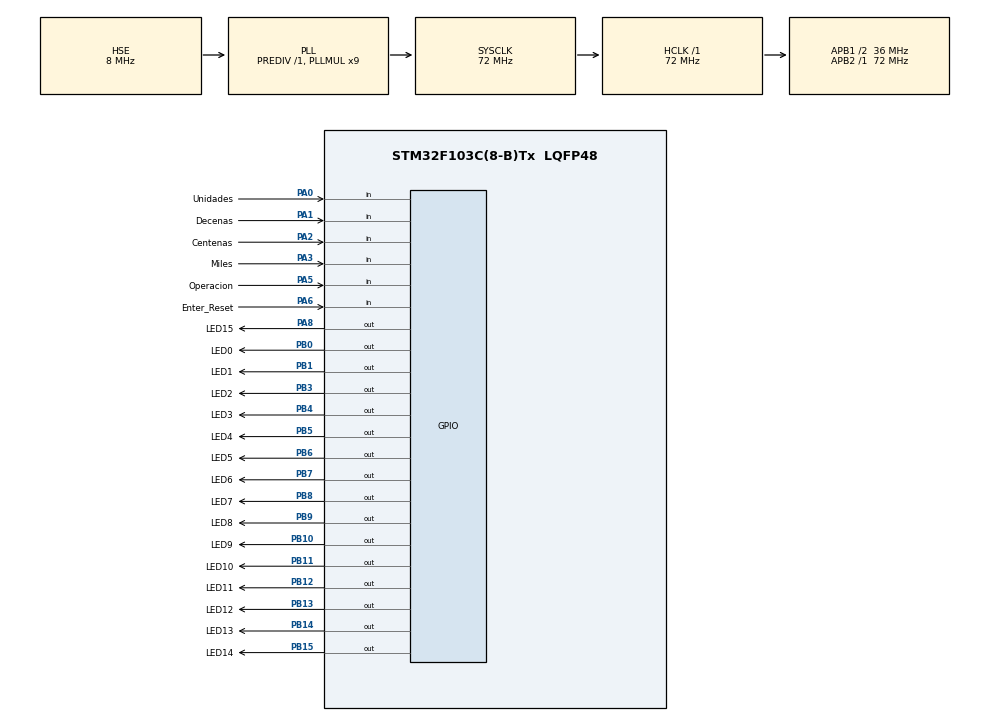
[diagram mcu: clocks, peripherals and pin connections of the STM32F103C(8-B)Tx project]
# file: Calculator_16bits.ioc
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Mcu.Family=STM32F1
Mcu.Name=STM32F103C(8-B)Tx
Mcu.Package=LQFP48
NVIC.PriorityGroup=NVIC_PRIORITYGROUP_4
PA0-WKUP.GPIO_Label=Unidades
PA0-WKUP.GPIO_PuPd=GPIO_PULLDOWN
PA0-WKUP.Signal=GPIO_Input
PA1.GPIO_Label=Decenas
PA1.GPIO_PuPd=GPIO_PULLDOWN
PA1.Signal=GPIO_Input
PA13.Mode=Serial_Wire
PA13.Signal=SYS_JTMS-SWDIO
PA14.Mode=Serial_Wire
PA14.Signal=SYS_JTCK-SWCLK
PA2.GPIO_Label=Centenas
PA2.GPIO_PuPd=GPIO_PULLDOWN
PA2.Signal=GPIO_Input
PA3.GPIO_Label=Miles
PA3.GPIO_PuPd=GPIO_PULLDOWN
PA3.Signal=GPIO_Input
PA5.GPIO_Label=Operacion
PA5.GPIO_PuPd=GPIO_PULLDOWN
PA5.Signal=GPIO_Input
PA6.GPIO_Label=Enter_Reset
PA6.GPIO_PuPd=GPIO_PULLDOWN
PA6.Signal=GPIO_Input
PA8.GPIO_Label=LED15
PA8.GPIO_PuPd=GPIO_PULLDOWN
PA8.Signal=GPIO_Output
PB0.GPIO_Label=LED0
PB0.GPIO_PuPd=GPIO_PULLDOWN
PB0.Signal=GPIO_Output
PB1.GPIO_Label=LED1
PB1.GPIO_PuPd=GPIO_PULLDOWN
PB1.Signal=GPIO_Output
PB10.GPIO_Label=LED9
PB10.GPIO_PuPd=GPIO_PULLDOWN
PB10.Signal=GPIO_Output
PB11.GPIO_Label=LED10
PB11.GPIO_PuPd=GPIO_PULLDOWN
PB11.Signal=GPIO_Output
PB12.GPIO_Label=LED11
PB12.GPIO_PuPd=GPIO_PULLDOWN
PB12.Signal=GPIO_Output
PB13.GPIO_Label=LED12
PB13.GPIO_PuPd=GPIO_PULLDOWN
PB13.Signal=GPIO_Output
PB14.GPIO_Label=LED13
PB14.GPIO_PuPd=GPIO_PULLDOWN
PB14.Signal=GPIO_Output
PB15.GPIO_Label=LED14
PB15.GPIO_PuPd=GPIO_PULLDOWN
PB15.Signal=GPIO_Output
PB3.GPIO_Label=LED2
PB3.GPIO_PuPd=GPIO_PULLDOWN
PB3.Signal=GPIO_Output
PB4.GPIO_Label=LED3
PB4.GPIO_PuPd=GPIO_PULLDOWN
PB4.Signal=GPIO_Output
PB5.GPIO_Label=LED4
PB5.GPIO_PuPd=GPIO_PULLDOWN
PB5.Signal=GPIO_Output
PB6.GPIO_Label=LED5
PB6.GPIO_PuPd=GPIO_PULLDOWN
PB6.Signal=GPIO_Output
PB7.GPIO_Label=LED6
PB7.GPIO_PuPd=GPIO_PULLDOWN
PB7.Signal=GPIO_Output
PB8.GPIO_Label=LED7
PB8.GPIO_PuPd=GPIO_PULLDOWN
PB8.Signal=GPIO_Output
PB9.GPIO_Label=LED8
PB9.GPIO_PuPd=GPIO_PULLDOWN
PB9.Signal=GPIO_Output
PD0-OSC_IN.Mode=HSE-External-Oscillator
PD0-OSC_IN.Signal=RCC_OSC_IN
PD1-OSC_OUT.Mode=HSE-External-Oscillator
PD1-OSC_OUT.Signal=RCC_OSC_OUT
ProjectManager.HeapSize=0x200
ProjectManager.StackSize=0x400
ProjectManager.TargetToolchain=STM32CubeIDE
RCC.AHBFreq_Value=72000000
RCC.APB1CLKDivider=RCC_HCLK_DIV2
RCC.APB1Freq_Value=36000000
RCC.APB1TimFreq_Value=72000000
RCC.APB2Freq_Value=72000000
RCC.APB2TimFreq_Value=72000000
RCC.HCLKFreq_Value=72000000
RCC.PLLMUL=RCC_PLL_MUL9
RCC.PLLSourceVirtual=RCC_PLLSOURCE_HSE
RCC.SYSCLKFreq_VALUE=72000000
RCC.SYSCLKSource=RCC_SYSCLKSOURCE_PLLCLK
RCC.USBFreq_Value=72000000
board=custom

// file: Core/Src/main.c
/* USER CODE BEGIN Header */
/**
  ******************************************************************************
  * @file           : main.c
  * @brief          : Main program body
  ******************************************************************************
  * @attention
  * MM
  * <h2><center>&copy; Copyright (c) 2021 STMicroelectronics.
  * All rights reserved.</center></h2>
  *
  * This software component is licensed by ST under BSD 3-Clause license,
  * the "License"; You may not use this file except in compliance with the
  * License. You may obtain a copy of the License at:
  *                        opensource.org/licenses/BSD-3-Clause
  *
  ******************************************************************************
  */
/* USER CODE END Header */
#include "main.h"

/* USER CODE BEGIN PD */

#define delay_error 1000
#define delay_negative 300

/* USER CODE END PD */

/* USER CODE BEGIN PV */
uint16_t n1 = 0;
uint16_t n2 = 0;
uint8_t operator;

/* USER CODE END PV */

void SystemClock_Config(void);
static void MX_GPIO_Init(void);
/* USER CODE BEGIN PFP */
uint16_t read_number();
uint8_t selector_operation();
void calculate_n(uint16_t num1,uint16_t num2,uint8_t operation);
void negative(uint16_t num1,uint16_t num2);
void null();
void solution(uint16_t num1,uint16_t num2,uint8_t operation);
void printf_solution(uint16_t result);

/* USER CODE END PFP */

int main(void)
{

  /* MCU Configuration--------------------------------------------------------*/

  /* Reset of all peripherals, Initializes the Flash interface and the Systick. */
  HAL_Init();

  /* Configure the system clock */
  SystemClock_Config();

  /* Initialize all configured peripherals */
  MX_GPIO_Init();

  /* Infinite loop */
  /* USER CODE BEGIN WHILE */
  while (1)
  {
	  while(HAL_GPIO_ReadPin(GPIOA, Operacion_Pin) != 1)
	  {
		  n1 =  read_number();
	  }
	  operator = selector_operation();
	  while(HAL_GPIO_ReadPin(GPIOA, Enter_Reset_Pin) != 1)
	  {
		  n2 = read_number();
	  }
	  calculate_n(n1, n2, operator);
    /* USER CODE END WHILE */

  }
}

void SystemClock_Config(void)
{
  RCC_OscInitTypeDef RCC_OscInitStruct = {0};
  RCC_ClkInitTypeDef RCC_ClkInitStruct = {0};

  /** Initializes the RCC Oscillators according to the specified parameters
  * in the RCC_OscInitTypeDef structure.
  */
  RCC_OscInitStruct.OscillatorType = RCC_OSCILLATORTYPE_HSE;
  RCC_OscInitStruct.HSEState = RCC_HSE_ON;
  RCC_OscInitStruct.HSEPredivValue = RCC_HSE_PREDIV_DIV1;
  RCC_OscInitStruct.HSIState = RCC_HSI_ON;
  RCC_OscInitStruct.PLL.PLLState = RCC_PLL_ON;
  RCC_OscInitStruct.PLL.PLLSource = RCC_PLLSOURCE_HSE;
  RCC_OscInitStruct.PLL.PLLMUL = RCC_PLL_MUL9;
  if (HAL_RCC_OscConfig(&RCC_OscInitStruct) != HAL_OK)
  {
    Error_Handler();
  }
  /** Initializes the CPU, AHB and APB buses clocks
  */
  RCC_ClkInitStruct.ClockType = RCC_CLOCKTYPE_HCLK|RCC_CLOCKTYPE_SYSCLK
                              |RCC_CLOCKTYPE_PCLK1|RCC_CLOCKTYPE_PCLK2;
  RCC_ClkInitStruct.SYSCLKSource = RCC_SYSCLKSOURCE_PLLCLK;
  RCC_ClkInitStruct.AHBCLKDivider = RCC_SYSCLK_DIV1;
  RCC_ClkInitStruct.APB1CLKDivider = RCC_HCLK_DIV2;
  RCC_ClkInitStruct.APB2CLKDivider = RCC_HCLK_DIV1;

  if (HAL_RCC_ClockConfig(&RCC_ClkInitStruct, FLASH_LATENCY_2) != HAL_OK)
  {
    Error_Handler();
  }
}

static void MX_GPIO_Init(void)
{
  GPIO_InitTypeDef GPIO_InitStruct = {0};

  /* GPIO Ports Clock Enable */
  __HAL_RCC_GPIOD_CLK_ENABLE();
  __HAL_RCC_GPIOA_CLK_ENABLE();
  __HAL_RCC_GPIOB_CLK_ENABLE();

  /*Configure GPIO pin Output Level */
  HAL_GPIO_WritePin(GPIOB, LED0_Pin|LED1_Pin|LED9_Pin|LED10_Pin
                          |LED11_Pin|LED12_Pin|LED13_Pin|LED14_Pin
                          |LED2_Pin|LED3_Pin|LED4_Pin|LED5_Pin
                          |LED6_Pin|LED7_Pin|LED8_Pin, GPIO_PIN_RESET);

  /*Configure GPIO pin Output Level */
  HAL_GPIO_WritePin(LED15_GPIO_Port, LED15_Pin, GPIO_PIN_RESET);

  /*Configure GPIO pins : Unidades_Pin Decenas_Pin Centenas_Pin Miles_Pin
                           Operacion_Pin Enter_Reset_Pin */
  GPIO_InitStruct.Pin = Unidades_Pin|Decenas_Pin|Centenas_Pin|Miles_Pin
                          |Operacion_Pin|Enter_Reset_Pin;
  GPIO_InitStruct.Mode = GPIO_MODE_INPUT;
  GPIO_InitStruct.Pull = GPIO_PULLDOWN;
  HAL_GPIO_Init(GPIOA, &GPIO_InitStruct);

  /*Configure GPIO pins : LED0_Pin LED1_Pin LED9_Pin LED10_Pin
                           LED11_Pin LED12_Pin LED13_Pin LED14_Pin
                           LED2_Pin LED3_Pin LED4_Pin LED5_Pin
                           LED6_Pin LED7_Pin LED8_Pin */
  GPIO_InitStruct.Pin = LED0_Pin|LED1_Pin|LED9_Pin|LED10_Pin
                          |LED11_Pin|LED12_Pin|LED13_Pin|LED14_Pin
                          |LED2_Pin|LED3_Pin|LED4_Pin|LED5_Pin
                          |LED6_Pin|LED7_Pin|LED8_Pin;
  GPIO_InitStruct.Mode = GPIO_MODE_OUTPUT_PP;
  GPIO_InitStruct.Pull = GPIO_PULLDOWN;
  GPIO_InitStruct.Speed = GPIO_SPEED_FREQ_LOW;
  HAL_GPIO_Init(GPIOB, &GPIO_InitStruct);

  /*Configure GPIO pin : LED15_Pin */
  GPIO_InitStruct.Pin = LED15_Pin;
  GPIO_InitStruct.Mode = GPIO_MODE_OUTPUT_PP;
  GPIO_InitStruct.Pull = GPIO_PULLDOWN;
  GPIO_InitStruct.Speed = GPIO_SPEED_FREQ_LOW;
  HAL_GPIO_Init(LED15_GPIO_Port, &GPIO_InitStruct);

}

/* USER CODE BEGIN 4 */
uint16_t read_number(){
	uint8_t u = 0,c = 0,d = 0,m = 0;
	uint8_t unidades = 0;
	uint8_t decenas = 0;
	uint8_t centenas = 0;
	uint16_t miles = 0;
	uint16_t numero = 0;

	u = HAL_GPIO_ReadPin(GPIOA, Unidades_Pin);
	d = HAL_GPIO_ReadPin(GPIOA, Decenas_Pin);
	c = HAL_GPIO_ReadPin(GPIOA, Centenas_Pin);
	m = HAL_GPIO_ReadPin(GPIOA, Miles_Pin);

	while((u == 1) || (d == 1) || (c == 1) || (m == 1)){

	}

	return numero;
}

uint8_t selector_operation(){
	uint8_t op;
	uint8_t contador = 0;

	if(HAL_GPIO_ReadPin(GPIOA, Operacion_Pin)==1)
	{
		contador++;
	}

	switch (contador)
	{
	case 1:
		op = 2;
		break;
	case 2:
		op = '-';
		break;
	case 3:
		op = '*';
		break;
	case 4:
		op = '/';
		break;
	default:
		break;

	return op;

	}
}

void calculate_n(uint16_t num1,uint16_t num2,uint8_t operation){
	if(num1 < num2){
		negative(num2,num1);
	}else{
		solution(num1,num2);
	}
}

void negative(uint16_t num1,uint16_t num2){

}

void solution(uint16_t num1,uint16_t num2,uint8_t operation){
	uint16_t result = 0;
	switch(operation)
	{
		case '+':
			result = num1 + num2;
			break;
		case '*':
			result = num1 * num2;
			break;
		case '/':
			result = num1 / num2;
			break;
		default:
			break;
	}
	if(result > 65535){
		null();
	}else{
		printf_solution(result);
	}
}

void printf_solution(uinst16_t result){

}

void null(){

}

/* USER CODE END 4 */

void Error_Handler(void)
{
  __disable_irq();
  while (1)
  {
  }
}

/************************ (C) COPYRIGHT STMicroelectronics *****END OF FILE****/
